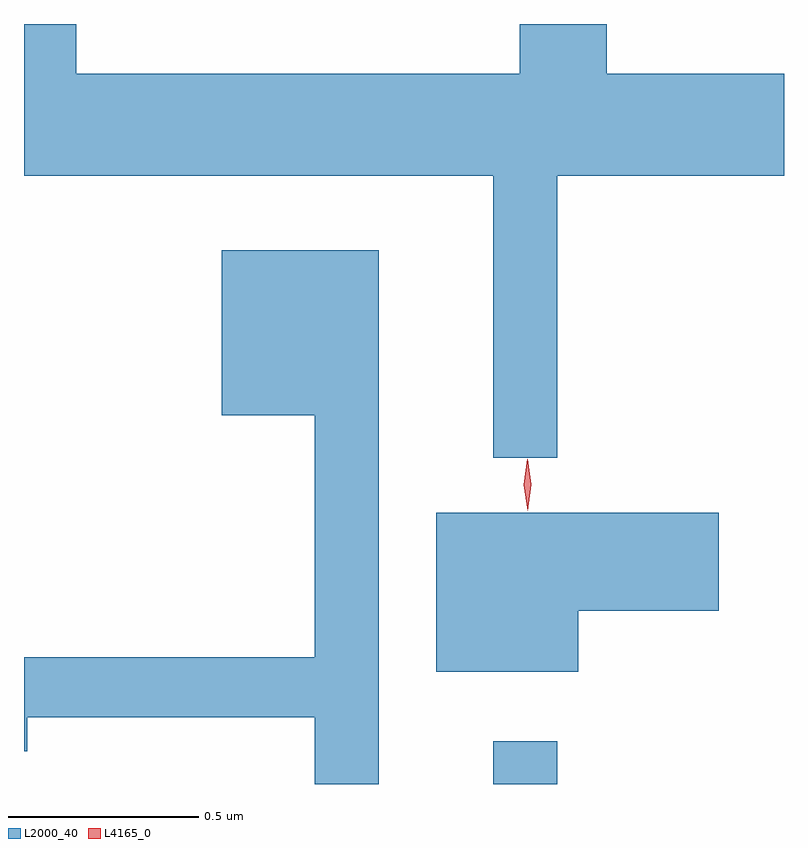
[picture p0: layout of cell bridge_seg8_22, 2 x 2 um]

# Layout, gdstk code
import gdstk
lib = gdstk.Library(unit=1e-6, precision=1e-09)
def R(c, l, rs):  # rectangles x0, y0, x1, y1
    for r in rs: c.add(gdstk.rectangle(r[:2], r[2:], *l))
def P(c, l, *ps):  # polygons
    for p in ps: c.add(gdstk.Polygon(p, *l))
L2000_40 = (2000, 40)
L4165_0 = (4165, 0)

bridge_seg8_22 = lib.new_cell('bridge_seg8_22')
R(bridge_seg8_22, L2000_40, [(1760.761,1921.395,1760.929,1921.508)])
P(bridge_seg8_22, L2000_40, [(1760.929,1922.996),(1761.526,1922.996),(1761.526,1923.264),(1761.059,1923.264),(1761.059,1923.395),(1760.831,1923.395),(1760.831,1923.264),(1759.664,1923.264),(1759.664,1923.395),(1759.526,1923.395),(1759.526,1922.996),(1760.761,1922.996),(1760.761,1922.253),(1760.929,1922.253)],
  [(1760.459,1922.799),(1760.046,1922.799),(1760.046,1922.366),(1760.291,1922.366),(1760.291,1921.729),(1759.526,1921.729),(1759.526,1921.481),(1759.534,1921.481),(1759.534,1921.571),(1760.291,1921.571),(1760.291,1921.395),(1760.459,1921.395)],
  [(1760.984,1921.851),(1761.354,1921.851),(1761.354,1922.109),(1760.611,1922.109),(1760.611,1921.691),(1760.984,1921.691)])
P(bridge_seg8_22, L4165_0, [(1760.851,1922.114),(1760.851,1922.114),(1760.841,1922.182),(1760.85,1922.25),(1760.85,1922.25),(1760.851,1922.25),(1760.861,1922.182),(1760.852,1922.114)],
  [(1760.851,1922.12),(1760.851,1922.121),(1760.841,1922.183),(1760.85,1922.246),(1760.85,1922.247),(1760.851,1922.246),(1760.861,1922.184),(1760.852,1922.121)])

lib.write_gds('bridge_seg8_22.gds')
